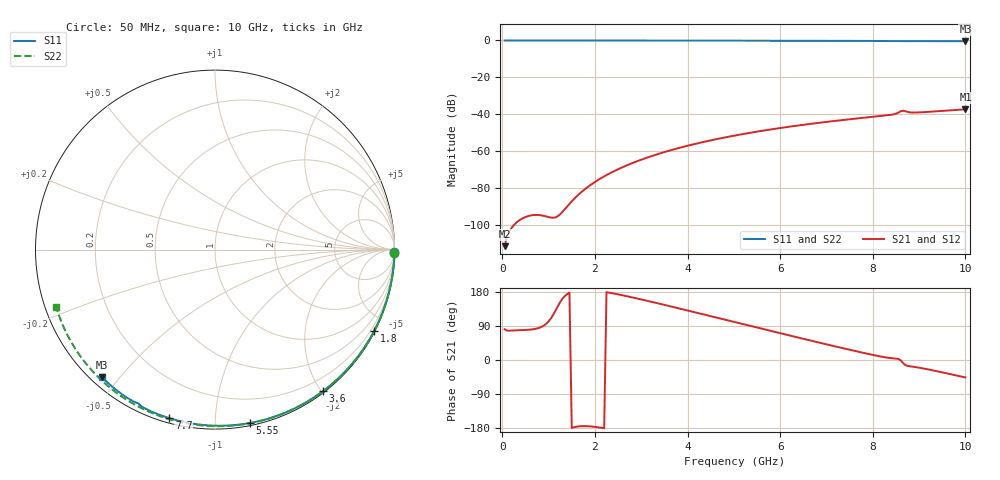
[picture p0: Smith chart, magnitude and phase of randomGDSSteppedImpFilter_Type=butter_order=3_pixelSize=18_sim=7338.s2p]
! freq	dB(S11)	phase(S11)	dB(S12)	phase(S12)
!  dB(S21)	phase(S21)	dB(S22)	phase(S22)
!S-par simulation data
#  GHz  S  DB  R 50
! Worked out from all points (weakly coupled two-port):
!   200 points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, 50 MHz to 10 GHz, reference 50 ohm
!   highest |S21| = -37.39 dB at 10 GHz (marker M1); lowest = -111.7 dB at 50 MHz (marker M2)
!   lowest |S11| = -0.4 dB at 10 GHz (marker M3), VSWR 38.72, Z = 1.55 - j22.5 ohm
!   |S11| at or under -10 dB: nowhere
!   |S22| runs from -0.5 to 0.0 dB; largest |S21 - S12| = 0
!   S11 on the Smith chart (normalised r, x): 50 MHz: open; 1.8 GHz: 0.04, -4.17; 3.6 GHz: 0.02, -2.02; 5.55 GHz: 0.02, -1.22; 7.7 GHz: 0.02, -0.76; 10 GHz: 0.03, -0.45
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0.05  -0.00 -0.8  -111.66 81.2  -111.66 81.2  -0.00 -0.9
0.85  -0.02 -12.9  -94.96 87.7  -94.96 87.7  -0.02 -15.7
1.75  -0.03 -26.2  -81.42 -174.5  -81.42 -174.5  -0.04 -31.9
1.8  -0.03 -27.0  -80.41 -174.6  -80.41 -174.6  -0.04 -32.8
1.85  -0.04 -27.7  -79.45 -174.8  -79.45 -174.8  -0.04 -33.7
2.2  -0.04 -32.8  -73.77 -180.0  -73.77 -180.0  -0.05 -39.9
2.5  -0.05 -37.1  -69.91 173.2  -69.91 173.2  -0.06 -45.1
2.9  -0.06 -42.9  -65.66 162.7  -65.66 162.7  -0.07 -52.0
3.4  -0.07 -49.9  -61.35 148.4  -61.35 148.4  -0.08 -60.5
3.6  -0.07 -52.7  -59.85 142.6  -59.85 142.6  -0.09 -63.8
4.3  -0.09 -62.3  -55.35 121.7  -55.35 121.7  -0.11 -75.3
5.05  -0.11 -72.3  -51.47 99.1  -51.47 99.1  -0.13 -87.1
5.55  -0.13 -78.7  -49.29 84.1  -49.29 84.1  -0.15 -94.9
6.1  -0.15 -85.7  -47.17 67.7  -47.17 67.7  -0.18 -103.2
6.7  -0.18 -93.1  -45.13 50.1  -45.13 50.1  -0.22 -112.1
7.7  -0.24 -105.2  -42.26 21.5  -42.26 21.5  -0.29 -126.6
8.35  -0.28 -112.9  -40.53 5.5  -40.53 5.5  -0.35 -136.0
8.5  -0.30 -114.7  -39.74 3.7  -39.74 3.7  -0.36 -138.1
8.65  -0.38 -116.4  -38.10 -7.5  -38.10 -7.5  -0.37 -140.3
8.8  -0.36 -117.8  -39.05 -16.6  -39.05 -16.6  -0.39 -142.5
8.9  -0.35 -119.0  -39.14 -18.3  -39.14 -18.3  -0.40 -144.0
10  -0.45 -131.5  -37.39 -46.1  -37.39 -46.1  -0.53 -160.1
